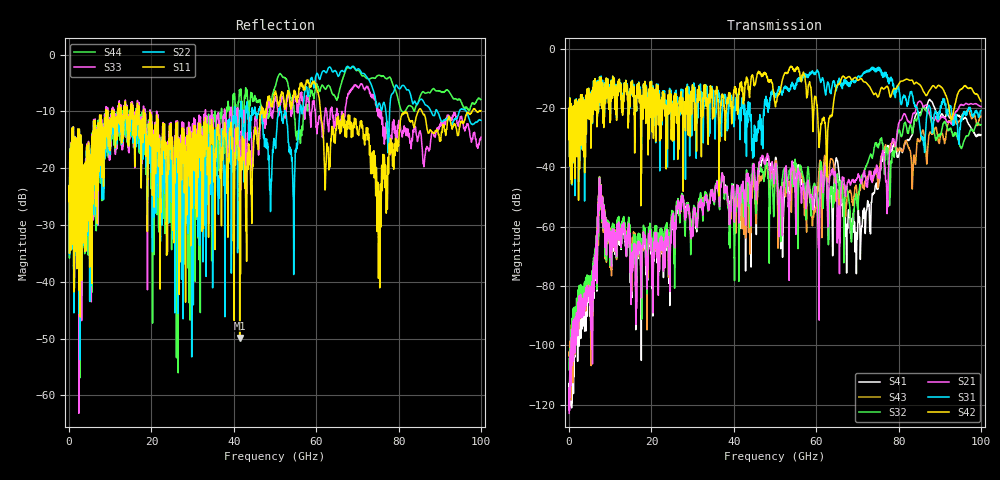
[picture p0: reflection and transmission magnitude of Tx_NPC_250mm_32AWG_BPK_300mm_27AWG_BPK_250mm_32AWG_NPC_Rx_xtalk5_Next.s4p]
! Info: Touchstone file created by Circ.  Input file=Tx_NPC_250mm_32AWG_BPK_300mm_27AWG_BPK_250mm_32AWG_NPC_Rx.circ
# Hz S RI R 50
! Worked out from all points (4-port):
!   10000 points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, 10 MHz to 100 GHz, reference 50 ohm
!   strongest paths, dB at 10 MHz, 25.01 GHz, 50.01 GHz, 75.01 GHz, 100 GHz:
!     S42: -30.6, -19.4, -18.5, -16.3, -17.6
!     S31: -30.5, -18.9, -15.7, -6.8, -20.8
!     S21: -122.9, -58.1, -40.5, -41.1, -19.5
!     S32: -104.5, -55.4, -44.4, -32.7, -25.5
!     S43: -102.4, -56.4, -39.5, -45.9, -22.7
!     S41: -118.6, -58.4, -38.3, -47.3, -29.0
!   lowest |S11| = -49.9 dB at 41.43 GHz (marker M1), VSWR 1.01, Z = 50 + j0.321 ohm
!   |S11| at or under -10 dB: 18.12 GHz to 46.67 GHz (28.55 GHz wide, 88.1 % of centre); 61.06 GHz to 84.77 GHz (23.71 GHz wide, 32.5 % of centre); 85.69 GHz to 97.84 GHz (12.15 GHz wide, 13.2 % of centre) (the widest 3 of 38)
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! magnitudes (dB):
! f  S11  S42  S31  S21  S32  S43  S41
! 10 MHz  -25.9  -30.6  -30.5  -122.9  -104.5  -102.4  -118.6
! 7.64 GHz  -15.9  -14.4  -13.9  -47.1  -47.1  -46.9  -46.9
! 15.35 GHz  -9.2  -10.8  -10.6  -72.6  -68.4  -71.8  -73.0
! 41.43 GHz  -49.9  -13.0  -22.3  -53.8  -53.3  -54.9  -57.1
! 69.62 GHz  -11.5  -9.7  -11.0  -44.3  -49.2  -46.2  -62.5
! 87.47 GHz  -13.8  -14.1  -19.3  -21.7  -22.0  -28.8  -17.1
! 100 GHz  -9.9  -17.6  -20.8  -19.5  -25.5  -22.7  -29.0
